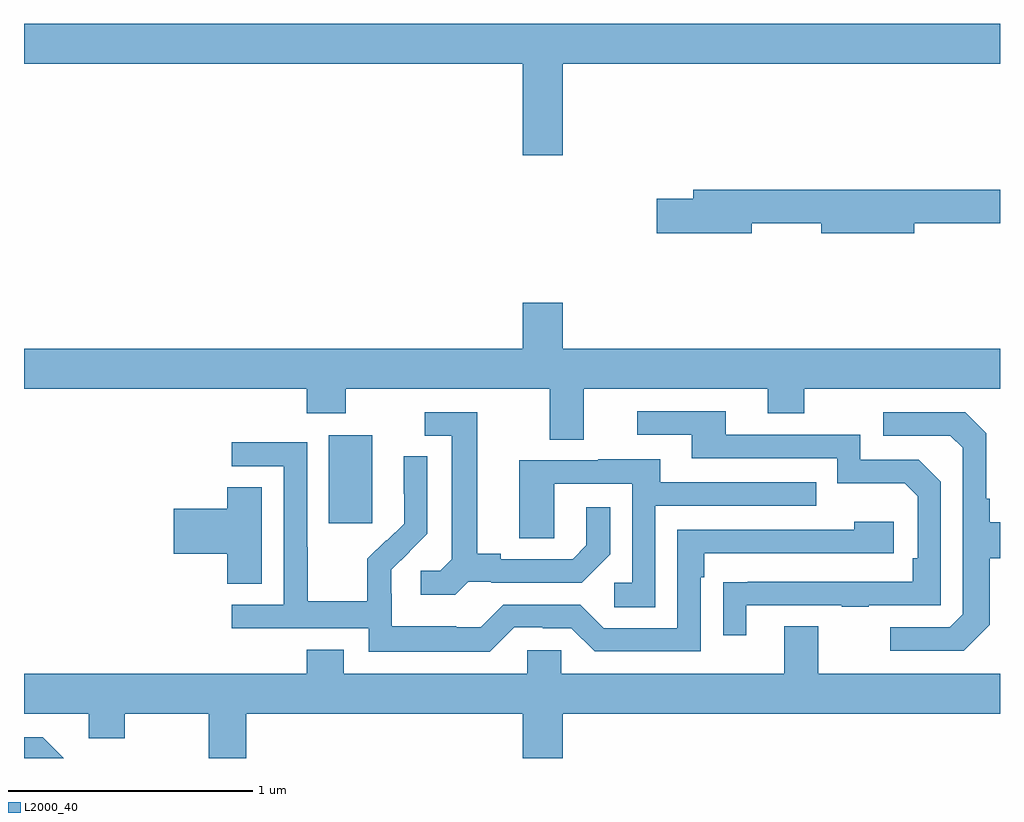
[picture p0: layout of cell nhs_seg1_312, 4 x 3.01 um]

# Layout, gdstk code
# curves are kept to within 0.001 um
import gdstk
lib = gdstk.Library(unit=1e-6, precision=1e-09)
def R(c, l, rs):  # rectangles x0, y0, x1, y1
    for r in rs: c.add(gdstk.rectangle(r[:2], r[2:], *l))
def P(c, l, *ps):  # polygons
    for p in ps: c.add(gdstk.Polygon(p, *l))
L2000_40 = (2000, 40)

nhs_seg1_312 = lib.new_cell('nhs_seg1_312')
R(nhs_seg1_312, L2000_40, [(128.249,571.161,128.428,571.522)])
P(nhs_seg1_312, L2000_40, [(129.208,573.044),(131,573.044),(131,573.208),(127,573.208),(127,573.044),(129.044,573.044),(129.044,572.67),(129.208,572.67)],
  [(129.982,572.392),(130.268,572.392),(130.268,572.35),(130.648,572.35),(130.648,572.392),(131,572.392),(131,572.528),(129.743,572.528),(129.743,572.492),(129.594,572.492),(129.594,572.35),(129.982,572.35)],
  [(129.295,571.712),(130.049,571.712),(130.049,571.613),(130.197,571.613),(130.197,571.712),(131,571.712),(131,571.876),(129.208,571.876),(129.208,572.065),(129.044,572.065),(129.044,571.876),(127,571.876),(127,571.712),(128.159,571.712),(128.159,571.613),(128.319,571.613),(128.319,571.712),(129.155,571.712),(129.155,571.504),(129.295,571.504)],
  [(129.961,570.825),(130.351,570.825),(130.351,570.82),(130.463,570.82),(130.463,570.825),(130.758,570.825),(130.758,571.332),(130.668,571.422),(130.428,571.422),(130.428,571.524),(129.877,571.524),(129.877,571.62),(129.513,571.62),(129.513,571.524),(129.737,571.524),(129.737,571.428),(130.332,571.428),(130.332,571.325),(130.609,571.325),(130.662,571.272),(130.662,571.018),(130.642,571.018),(130.642,570.921),(129.865,570.92),(129.865,570.702),(129.961,570.702)],
  [(130.957,570.745),(130.957,571.018),(131,571.018),(131,571.165),(130.957,571.165),(130.957,571.261),(130.944,571.261),(130.944,571.53),(130.857,571.617),(130.521,571.617),(130.521,571.521),(130.797,571.521),(130.848,571.47),(130.848,570.789),(130.794,570.735),(130.551,570.735),(130.551,570.639),(130.851,570.639)],
  [(128.82,570.921),(128.914,570.921),(128.914,570.918),(129.286,570.918),(129.402,571.034),(129.402,571.228),(129.305,571.228),(129.305,571.071),(129.248,571.014),(128.953,571.014),(128.953,571.037),(128.857,571.037),(128.857,571.617),(128.643,571.617),(128.643,571.521),(128.753,571.521),(128.753,571.013),(128.706,570.966),(128.625,570.966),(128.625,570.869),(128.768,570.869)],
  [(129.009,570.735),(129.125,570.735),(129.125,570.732),(129.243,570.732),(129.339,570.636),(129.774,570.636),(129.774,570.941),(129.787,570.941),(129.787,571.038),(130.564,571.038),(130.564,571.168),(130.403,571.168),(130.403,571.134),(129.678,571.134),(129.678,570.732),(129.375,570.732),(129.279,570.828),(128.964,570.828),(128.871,570.735),(128.771,570.735),(128.771,570.739),(128.508,570.739),(128.508,570.873),(128.506,570.873),(128.506,570.97),(128.652,571.118),(128.652,571.436),(128.556,571.436),(128.556,571.282),(128.558,571.282),(128.558,571.16),(128.487,571.089),(128.484,571.092),(128.407,571.015),(128.407,570.841),(128.163,570.841),(128.163,571.064),(128.16,571.064),(128.16,571.494),(127.851,571.494),(127.851,571.395),(128.064,571.395),(128.064,570.828),(127.851,570.828),(127.851,570.732),(128.412,570.732),(128.412,570.635),(128.909,570.635)],
  [(129.588,571.233),(130.247,571.233),(130.247,571.329),(129.607,571.329),(129.607,571.423),(129.353,571.423),(129.353,571.419),(129.029,571.419),(129.029,571.099),(129.174,571.099),(129.174,571.323),(129.492,571.323),(129.492,570.918),(129.42,570.918),(129.42,570.817),(129.588,570.817)],
  [(127.975,571.31),(127.832,571.31),(127.832,571.22),(127.614,571.22),(127.614,571.037),(127.832,571.037),(127.832,570.913),(127.975,570.913)],
  [(127.91,570.38),(129.044,570.38),(129.044,570.199),(129.208,570.199),(129.208,570.38),(131,570.38),(131,570.544),(130.255,570.544),(130.255,570.739),(130.115,570.739),(130.115,570.544),(129.201,570.544),(129.201,570.642),(129.063,570.642),(129.063,570.544),(128.311,570.544),(128.311,570.643),(128.159,570.643),(128.159,570.544),(127,570.544),(127,570.38),(127.265,570.38),(127.265,570.281),(127.413,570.281),(127.413,570.38),(127.757,570.38),(127.757,570.199),(127.91,570.199)],
  [(127.077,570.285),(127,570.285),(127,570.199),(127.163,570.199)])

lib.write_gds('nhs_seg1_312.gds')
